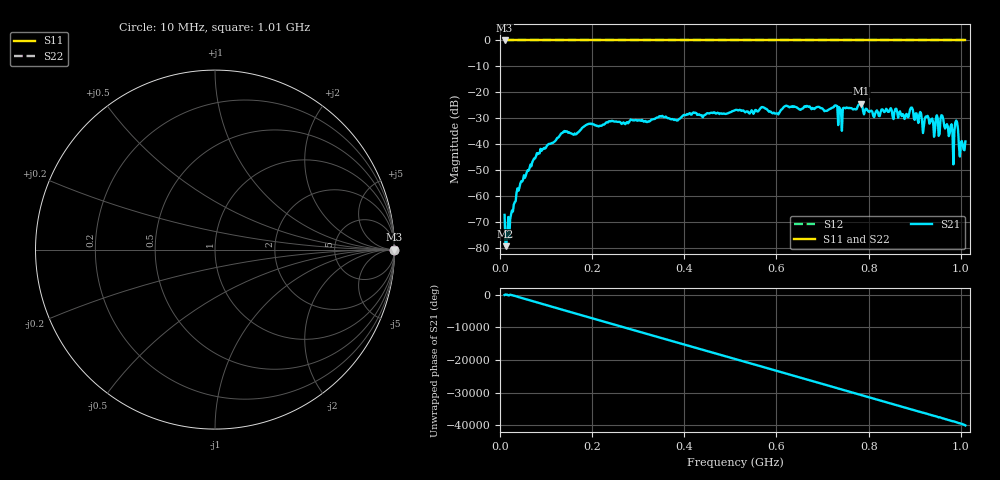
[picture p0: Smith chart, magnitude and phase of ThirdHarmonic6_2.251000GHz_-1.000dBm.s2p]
! 8/17/2025 2:42:35 AM
! C:\ANRITSUVNA\TEMP\TEMP.S2P
! CHANNEL.1
! TR.MEASUREMENT
! RAW.DATA
! RF.CORRECTION.OFF
! AVERAGING.OFF
! IF.BANDWIDTH: 5KHZ
! SWEEPTYPE:  FREQ.SWEEP(Linear)
! Reference Plane Port Info
! PORT:  PORT1  PORT2
! DISTANCE:  0  m  0  m
! TIME:  0  s  0  s
! PHASE.OFFSET:  0  deg.  0  deg.
! LOSS:  0  dB  0  dB
! REF.LOSS:  0  dB  0  dB
! REF.FREQ:  0  Hz  0  Hz
! Power Info
! POWER:  -20  dBm  -20  dBm
! EFF.POWER:  -20  dBm  -20  dBm
! SOURCE.ATTEN:  0  dB  0  dB
! TEST.ATTEN:  0  dB  0  dB
# GHZ S RI R 50.0
! FREQ.GHZ  S11RE  S11IM  S21RE  S21IM  S12RE  S12IM  S22RE  S22IM
!; PortSelection: Port_12
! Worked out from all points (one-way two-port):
!   501 points, 10 MHz to 1.01 GHz, reference 50 ohm
!   highest |S21| = -24.40 dB at 784 MHz (marker M1); lowest = -79.5 dB at 12 MHz (marker M2)
!   lowest |S11| = 0.0 dB at 10 MHz (marker M3)
!   |S11| at or under -10 dB: nowhere
!   |S22| runs from 0.0 to 0.0 dB; largest |S21 - S12| = 1.1
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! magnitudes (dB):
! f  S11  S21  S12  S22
! 10 MHz  0.0  -67.4  0.0  0.0
! 12 MHz  0.0  -79.5  0.0  0.0
! 16 MHz  0.0  -74.9  0.0  0.0
! 40 MHz  0.0  -58.1  0.0  0.0
! 76 MHz  0.0  -45.6  0.0  0.0
! 136 MHz  0.0  -35.7  0.0  0.0
! 178 MHz  0.0  -33.8  0.0  0.0
! 344 MHz  0.0  -29.6  0.0  0.0
! 510 MHz  0.0  -27.0  0.0  0.0
! 678 MHz  0.0  -26.1  0.0  0.0
! 728 MHz  0.0  -25.1  0.0  0.0
! 738 MHz  0.0  -26.6  0.0  0.0
! 784 MHz  0.0  -24.4  0.0  0.0
! 844 MHz  0.0  -27.6  0.0  0.0
! 882 MHz  0.0  -28.4  0.0  0.0
! 892 MHz  0.0  -26.0  0.0  0.0
! 940 MHz  0.0  -31.6  0.0  0.0
! 960 MHz  0.0  -29.1  0.0  0.0
! 980 MHz  0.0  -32.4  0.0  0.0
! 990 MHz  0.0  -30.9  0.0  0.0
! 1 GHz  0.0  -39.9  0.0  0.0
! 1.01 GHz  0.0  -39.0  0.0  0.0
